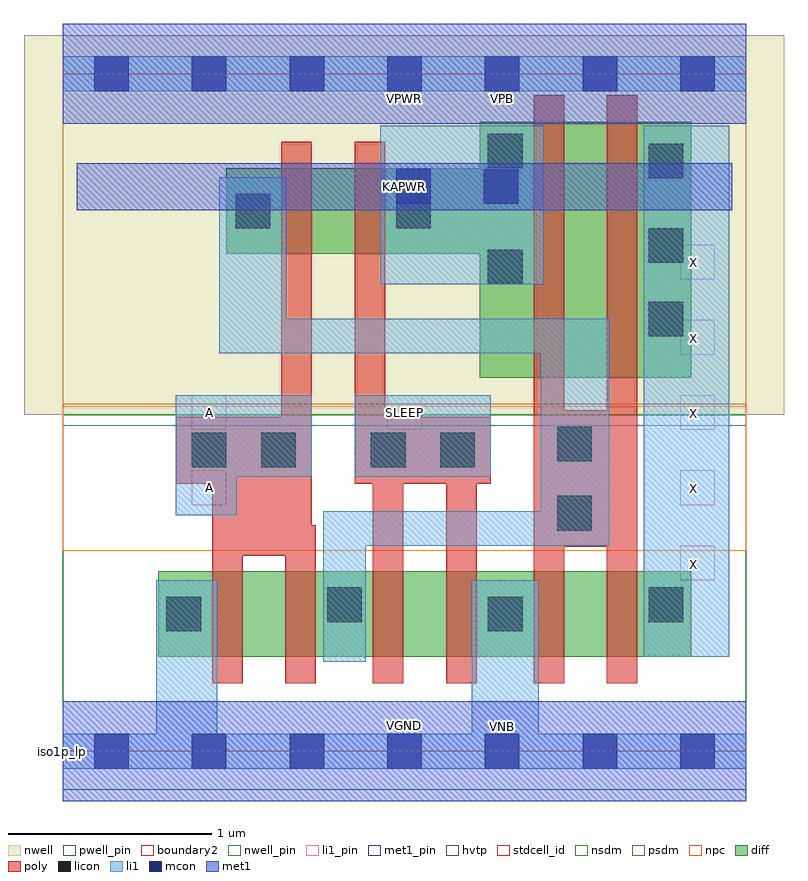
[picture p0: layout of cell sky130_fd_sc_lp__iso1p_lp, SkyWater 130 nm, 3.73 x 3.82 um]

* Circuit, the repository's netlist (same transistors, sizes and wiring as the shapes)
* Copyright 2020 The SkyWater PDK Authors
*
* Licensed under the Apache License, Version 2.0 (the "License");
* you may not use this file except in compliance with the License.
* You may obtain a copy of the License at
*
*     https://www.apache.org/licenses/LICENSE-2.0
*
* Unless required by applicable law or agreed to in writing, software
* distributed under the License is distributed on an "AS IS" BASIS,
* WITHOUT WARRANTIES OR CONDITIONS OF ANY KIND, either express or implied.
* See the License for the specific language governing permissions and
* limitations under the License.
*
* SPDX-License-Identifier: Apache-2.0

.SUBCKT sky130_fd_sc_lp__iso1p_lp A KAPWR SLEEP VGND VNB VPB VPWR X
*.PININFO A:I KAPWR:I SLEEP:I VGND:I VNB:I VPB:I VPWR:I X:O
MMP0 KAPWR SLEEP sndPA VPB sky130_fd_pr__pfet_01v8_hvt m=1 w=0.42U l=0.15U mult=1
+ sa=0.265 sb=0.265 sd=0.28 area=0.063 perim=1.14
MI7 sndPA A net64 VPB sky130_fd_pr__pfet_01v8_hvt m=1 w=0.42U l=0.15U mult=1 sa=0.265
+ sb=0.265 sd=0.28 area=0.063 perim=1.14
MI8 net36 net64 X VPB sky130_fd_pr__pfet_01v8_hvt m=1 w=1.26U l=0.15U mult=1 sa=0.265
+ sb=0.265 sd=0.28 area=0.063 perim=1.14
MI15 KAPWR net64 net36 VPB sky130_fd_pr__pfet_01v8_hvt m=1 w=1.26U l=0.15U mult=1
+ sa=0.265 sb=0.265 sd=0.28 area=0.063 perim=1.14
MI10 net68 A VGND VNB sky130_fd_pr__nfet_01v8 m=1 w=0.42U l=0.15U mult=1 sa=0.265
+ sb=0.265 sd=0.28 area=0.063 perim=1.14
MI9 net64 SLEEP net52 VNB sky130_fd_pr__nfet_01v8 m=1 w=0.42U l=0.15U mult=1 sa=0.265
+ sb=0.265 sd=0.28 area=0.063 perim=1.14
MMIN2 X net64 net48 VNB sky130_fd_pr__nfet_01v8 m=1 w=0.42U l=0.15U mult=1 sa=0.265
+ sb=0.265 sd=0.28 area=0.063 perim=1.14
MI17 net64 A net68 VNB sky130_fd_pr__nfet_01v8 m=1 w=0.42U l=0.15U mult=1 sa=0.265
+ sb=0.265 sd=0.28 area=0.063 perim=1.14
MI16 net52 SLEEP VGND VNB sky130_fd_pr__nfet_01v8 m=1 w=0.42U l=0.15U mult=1 sa=0.265
+ sb=0.265 sd=0.28 area=0.063 perim=1.14
MI14 net48 net64 VGND VNB sky130_fd_pr__nfet_01v8 m=1 w=0.42U l=0.15U mult=1 sa=0.265
+ sb=0.265 sd=0.28 area=0.063 perim=1.14
.ENDS sky130_fd_sc_lp__iso1p_lp

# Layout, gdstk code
import gdstk
lib = gdstk.Library(unit=1e-6, precision=1e-09)
def R(c, l, rs):  # rectangles x0, y0, x1, y1
    for r in rs: c.add(gdstk.rectangle(r[:2], r[2:], *l))
def A(c, l, x, y, w, h, nx, ny, dx, dy):  # array of equal rectangles
    R(c, l, [(x+i*dx, y+j*dy, x+i*dx+w, y+j*dy+h) for i in range(nx) for j in range(ny)])
def P(c, l, *ps):  # polygons
    for p in ps: c.add(gdstk.Polygon(p, *l))
nwell_pin = (64, 16)
nwell = (64, 20)
diff = (65, 20)
poly = (66, 20)
licon = (66, 44)
li1_pin = (67, 16)
li1 = (67, 20)
mcon = (67, 44)
met1_pin = (68, 16)
met1 = (68, 20)
hvtp = (78, 44)
stdcell_id = (81, 4)
nsdm = (93, 44)
psdm = (94, 20)
npc = (95, 20)
pwell_pin = (122, 16)
boundary2 = (236, 0)

sky130_fd_sc_lp__iso1p_l = lib.new_cell('sky130_fd_sc_lp__iso1p_lp')
R(sky130_fd_sc_lp__iso1p_l, nwell_pin, [(0,3.085,3.36,3.33)])
R(sky130_fd_sc_lp__iso1p_l, nwell, [(-0.19,1.655,3.545,3.52)])
R(sky130_fd_sc_lp__iso1p_l, diff, [(0.47,0.465,3.09,0.885)])
P(sky130_fd_sc_lp__iso1p_l, diff, [(3.09,3.095),(2.05,3.095),(2.05,2.865),(0.805,2.865),(0.805,2.445),(2.05,2.445),(2.05,1.835),(3.09,1.835)])
P(sky130_fd_sc_lp__iso1p_l, poly, [(2.105,1.645),(1.585,1.645),(1.585,2.995),(1.435,2.995),(1.435,1.315),(1.525,1.315),(1.525,0.335),(1.675,0.335),(1.675,1.315),(1.885,1.315),(1.885,0.335),(2.035,0.335),(2.035,1.315),(2.105,1.315)],
  [(2.825,3.225),(2.675,3.225),(2.675,1.675),(2.465,1.675),(2.465,3.225),(2.315,3.225),(2.315,0.335),(2.465,0.335),(2.465,1.005),(2.675,1.005),(2.675,0.335),(2.825,0.335)],
  [(1.245,1.11),(1.225,1.11),(1.225,2.995),(1.075,2.995),(1.075,1.645),(0.555,1.645),(0.555,1.315),(0.735,1.315),(0.735,0.335),(0.885,0.335),(0.885,0.96),(1.095,0.96),(1.095,0.335),(1.245,0.335)])
R(sky130_fd_sc_lp__iso1p_l, licon, [(0.51,0.59,0.68,0.76), (2.09,0.59,2.26,0.76), (1.3,0.635,1.47,0.805), (2.88,0.635,3.05,0.805), (2.43,1.085,2.6,1.255), (0.635,1.395,0.805,1.565), (0.975,1.395,1.145,1.565), (1.515,1.395,1.685,1.565), (1.855,1.395,2.025,1.565), (2.43,1.425,2.6,1.595), (2.88,2.04,3.05,2.21), (2.09,2.295,2.26,2.465), (2.88,2.4,3.05,2.57), (0.85,2.57,1.02,2.74), (1.64,2.57,1.81,2.74), (2.88,2.815,3.05,2.985), (2.09,2.865,2.26,3.035)])
A(sky130_fd_sc_lp__iso1p_l, li1_pin, 3.035, 0.84, 0.17, 0.17, 1, 5, 0, 0.37)
R(sky130_fd_sc_lp__iso1p_l, li1_pin, [(0.635,1.21,0.805,1.38), (0.635,1.58,0.805,1.75), (1.595,1.58,1.765,1.75)])
R(sky130_fd_sc_lp__iso1p_l, li1, [(2.855,0.465,3.275,3.075), (1.435,1.35,2.105,1.75), (1.56,2.295,2.365,3.075), (0,3.245,3.36,3.415)])
P(sky130_fd_sc_lp__iso1p_l, li1, [(3.36,0.085),(2.34,0.085),(2.34,0.84),(2.01,0.84),(2.01,0.085),(0.76,0.085),(0.76,0.84),(0.46,0.84),(0.46,0.085),(0,0.085),(0,-0.085),(3.36,-0.085)],
  [(1.225,1.75),(0.555,1.75),(0.555,1.16),(0.855,1.16),(0.855,1.35),(1.225,1.35)],
  [(2.685,2.125),(1.1,2.125),(1.1,2.82),(0.77,2.82),(0.77,1.955),(2.35,1.955),(2.35,1.18),(1.28,1.18),(1.28,0.44),(1.49,0.44),(1.49,1.01),(2.685,1.01)])
A(sky130_fd_sc_lp__iso1p_l, mcon, 0.155, -0.085, 0.17, 0.17, 7, 2, 0.48, 3.33)
R(sky130_fd_sc_lp__iso1p_l, mcon, [(1.64,2.69,1.81,2.86), (2.07,2.69,2.24,2.86)])
R(sky130_fd_sc_lp__iso1p_l, met1_pin, [(0,0,3.36,0.245), (0.07,2.66,3.29,2.89), (0,3.085,3.36,3.33)])
R(sky130_fd_sc_lp__iso1p_l, met1, [(0,-0.245,3.36,0.245), (0.07,2.66,3.29,2.89), (0,3.085,3.36,3.575)])
R(sky130_fd_sc_lp__iso1p_l, hvtp, [(0,1.6,3.36,3.33)])
R(sky130_fd_sc_lp__iso1p_l, stdcell_id, [(0,0,3.36,3.33)])
R(sky130_fd_sc_lp__iso1p_l, nsdm, [(0,-0.19,3.36,1.655)])
R(sky130_fd_sc_lp__iso1p_l, psdm, [(0,1.705,3.36,3.52)])
R(sky130_fd_sc_lp__iso1p_l, npc, [(0,0.985,3.36,1.695)])
R(sky130_fd_sc_lp__iso1p_l, pwell_pin, [(0,0,3.36,0.245)])
R(sky130_fd_sc_lp__iso1p_l, boundary2, [(0,0,3.36,3.33)])
sky130_fd_sc_lp__iso1p_l.add(gdstk.Label('A', (0.72,1.295), layer=67, texttype=5))
sky130_fd_sc_lp__iso1p_l.add(gdstk.Label('X', (3.1,0.92), layer=67, texttype=5))
sky130_fd_sc_lp__iso1p_l.add(gdstk.Label('X', (3.1,2.4), layer=67, texttype=5))
sky130_fd_sc_lp__iso1p_l.add(gdstk.Label('X', (3.1,2.03), layer=67, texttype=5))
sky130_fd_sc_lp__iso1p_l.add(gdstk.Label('X', (3.1,1.29), layer=67, texttype=5))
sky130_fd_sc_lp__iso1p_l.add(gdstk.Label('SLEEP', (1.68,1.665), layer=67, texttype=5))
sky130_fd_sc_lp__iso1p_l.add(gdstk.Label('X', (3.1,1.66), layer=67, texttype=5))
sky130_fd_sc_lp__iso1p_l.add(gdstk.Label('A', (0.72,1.665), layer=67, texttype=5))
sky130_fd_sc_lp__iso1p_l.add(gdstk.Label('VNB', (2.16,0.123), layer=64, texttype=59))
sky130_fd_sc_lp__iso1p_l.add(gdstk.Label('VPB', (2.16,3.208), layer=64, texttype=5))
sky130_fd_sc_lp__iso1p_l.add(gdstk.Label('iso1p_lp', (0,0), layer=83, texttype=44))
sky130_fd_sc_lp__iso1p_l.add(gdstk.Label('KAPWR', (1.68,2.778), layer=68, texttype=5))
sky130_fd_sc_lp__iso1p_l.add(gdstk.Label('VPWR', (1.68,3.21), layer=68, texttype=5))
sky130_fd_sc_lp__iso1p_l.add(gdstk.Label('VGND', (1.68,0.125), layer=68, texttype=5))

lib.write_gds('sky130_fd_sc_lp__iso1p_lp.gds')
